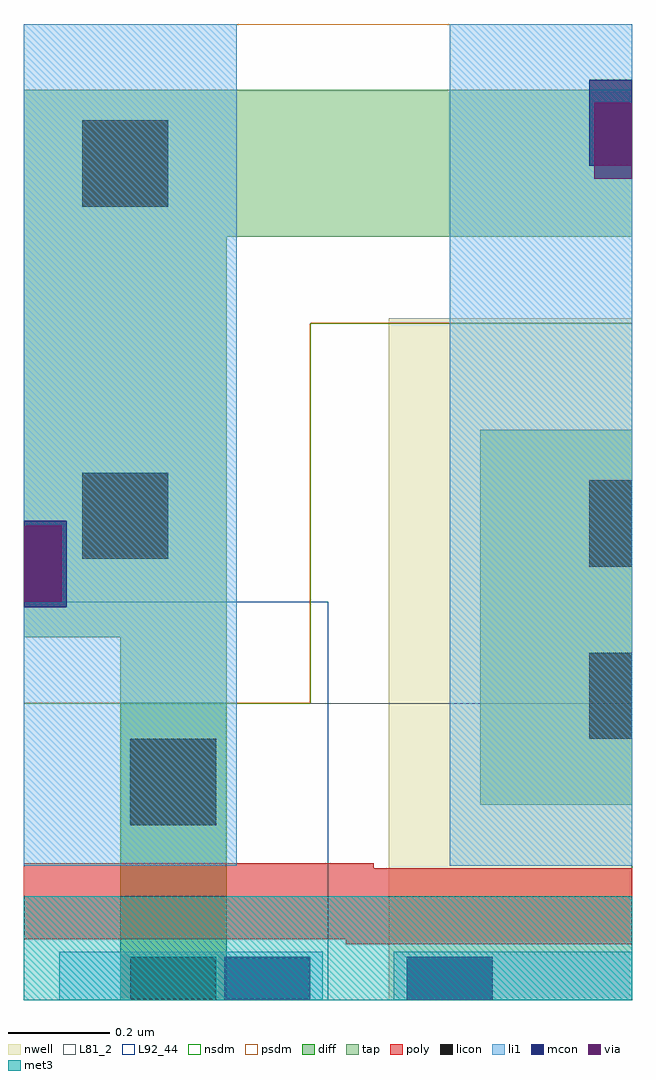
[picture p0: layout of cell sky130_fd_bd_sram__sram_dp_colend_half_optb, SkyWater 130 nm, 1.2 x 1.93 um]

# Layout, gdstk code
import gdstk
lib = gdstk.Library(unit=1e-6, precision=1e-09)
def R(c, l, rs):  # rectangles x0, y0, x1, y1
    for r in rs: c.add(gdstk.rectangle(r[:2], r[2:], *l))
def P(c, l, *ps):  # polygons
    for p in ps: c.add(gdstk.Polygon(p, *l))
nwell = (64, 20)
diff = (65, 20)
tap = (65, 44)
poly = (66, 20)
licon = (66, 44)
li1 = (67, 20)
mcon = (67, 44)
via = (68, 44)
met3 = (70, 20)
L81_2 = (81, 2)
L92_44 = (92, 44)
nsdm = (93, 44)
psdm = (94, 20)

sky130_fd_bd_sram__sram_ = lib.new_cell('sky130_fd_bd_sram__sram_dp_cell_half_wl')
P(sky130_fd_bd_sram__sram_, poly, [(0.635,-0.01),(0.635,0),(0,0),(0,0.15),(0.69,0.15),(0.69,0.14),(1.2,0.14),(1.2,-0.01)])

c_sky130_fd_bd_sram__sram_ = lib.new_cell('sky130_fd_bd_sram__sram_dp_colend_half_limcon_optb')
R(c_sky130_fd_bd_sram__sram_, li1, [(0.07,0,0.59,0.095), (0.73,0,1.2,0.095)])
R(c_sky130_fd_bd_sram__sram_, mcon, [(0.395,0,0.565,0.085), (0.755,0,0.925,0.085)])

c_sky130_fd_bd_sram__sram__ = lib.new_cell('sky130_fd_bd_sram__sram_dp_licon_05')
R(c_sky130_fd_bd_sram__sram__, licon, [(-0.085,0,0.085,0.085)])

c_sky130_fd_bd_sram__sram___ = lib.new_cell('sky130_fd_bd_sram__sram_dp_licon_1')
c_sky130_fd_bd_sram__sram___.add(gdstk.Reference(c_sky130_fd_bd_sram__sram__, (0,0)))
c_sky130_fd_bd_sram__sram___.add(gdstk.Reference(c_sky130_fd_bd_sram__sram__, (0,0), x_reflection=True))

c_sky130_fd_bd_sram__sram____ = lib.new_cell('sky130_fd_bd_sram__sram_dp_colend_half_optb')
R(c_sky130_fd_bd_sram__sram____, nwell, [(0.72,0,1.2,0.585), (0.72,0.585,1.2,1.345)])
R(c_sky130_fd_bd_sram__sram____, diff, [(0.19,0,0.4,0.585)])
R(c_sky130_fd_bd_sram__sram____, tap, [(0.9,0.385,1.2,0.585), (0.9,0.585,1.2,1.125)])
P(c_sky130_fd_bd_sram__sram____, tap, [(0.19,0.585),(0.19,0.715),(0,0.715),(0,1.795),(1.2,1.795),(1.2,1.505),(0.4,1.505),(0.4,0.585)])
R(c_sky130_fd_bd_sram__sram____, licon, [(0.21,0,0.38,0.085), (0.21,0.345,0.38,0.515), (1.115,0.515,1.2,0.585), (1.115,0.585,1.2,0.685), (1.115,0.855,1.2,1.025)])
R(c_sky130_fd_bd_sram__sram____, li1, [(0,0.265,0.42,0.585), (0.84,0.265,1.2,0.585), (0,0.585,0.42,1.925), (0.84,0.585,1.2,1.925)])
R(c_sky130_fd_bd_sram__sram____, mcon, [(0,0.775,0.085,0.86), (0,0.86,0.085,0.945), (1.115,1.645,1.2,1.815)])
R(c_sky130_fd_bd_sram__sram____, via, [(0,0.785,0.075,0.935), (1.125,1.62,1.2,1.77)])
R(c_sky130_fd_bd_sram__sram____, met3, [(0,0,1.2,0.205)])
R(c_sky130_fd_bd_sram__sram____, L81_2, [(0,0,1.2,0.585)])
R(c_sky130_fd_bd_sram__sram____, L92_44, [(0,0,0.6,0.585), (0,0.585,0.6,0.785)])
R(c_sky130_fd_bd_sram__sram____, nsdm, [(0,0,1.2,0.585), (0.565,0.585,1.2,1.335)])
R(c_sky130_fd_bd_sram__sram____, psdm, [(0,0.585,0.565,1.335), (0,1.335,1.2,1.925)])
c_sky130_fd_bd_sram__sram____.add(gdstk.Reference(sky130_fd_bd_sram__sram_, (0,0.12)))
c_sky130_fd_bd_sram__sram____.add(gdstk.Reference(c_sky130_fd_bd_sram__sram_, (0,0)))
c_sky130_fd_bd_sram__sram____.add(gdstk.Reference(c_sky130_fd_bd_sram__sram___, (0.2,1.65)))
c_sky130_fd_bd_sram__sram____.add(gdstk.Reference(c_sky130_fd_bd_sram__sram___, (0.2,0.955)))

lib.write_gds('sky130_fd_bd_sram__sram_dp_colend_half_optb.gds')
